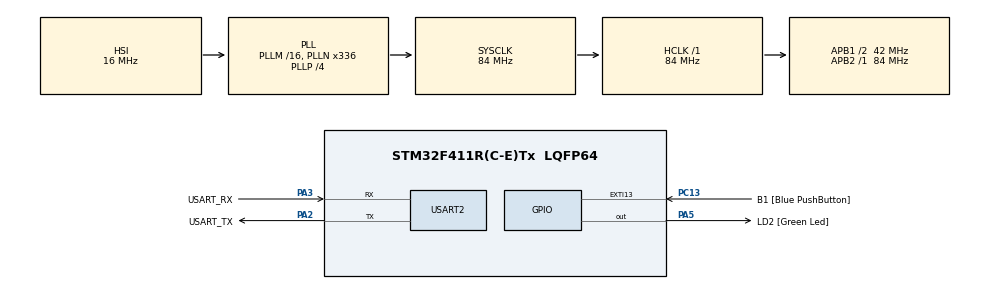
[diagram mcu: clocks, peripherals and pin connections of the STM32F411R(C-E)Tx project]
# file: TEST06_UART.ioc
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Mcu.Family=STM32F4
Mcu.Name=STM32F411R(C-E)Tx
Mcu.Package=LQFP64
NVIC.PriorityGroup=NVIC_PRIORITYGROUP_0
NVIC.USART2_IRQn=true\:0\:0\:false\:false\:true\:true\:true\:true
PA13.GPIO_Label=TMS
PA13.Mode=Serial_Wire
PA13.Signal=SYS_JTMS-SWDIO
PA14.GPIO_Label=TCK
PA14.Mode=Serial_Wire
PA14.Signal=SYS_JTCK-SWCLK
PA2.GPIO_Label=USART_TX
PA2.Mode=Asynchronous
PA2.Signal=USART2_TX
PA3.GPIO_Label=USART_RX
PA3.Mode=Asynchronous
PA3.Signal=USART2_RX
PA5.GPIO_Label=LD2 [Green Led]
PA5.Signal=GPIO_Output
PB3.GPIO_Label=SWO
PB3.Signal=SYS_JTDO-SWO
PC13-ANTI_TAMP.GPIO_Label=B1 [Blue PushButton]
PC13-ANTI_TAMP.GPIO_ModeDefaultEXTI=GPIO_MODE_IT_FALLING
PC13-ANTI_TAMP.Signal=GPXTI13
PC14-OSC32_IN.Mode=LSE-External-Oscillator
PC14-OSC32_IN.Signal=RCC_OSC32_IN
PC15-OSC32_OUT.Mode=LSE-External-Oscillator
PC15-OSC32_OUT.Signal=RCC_OSC32_OUT
PH0\ -\ OSC_IN.Mode=HSE-External-Clock-Source
PH0\ -\ OSC_IN.Signal=RCC_OSC_IN
PH1\ -\ OSC_OUT.Mode=HSE-External-Clock-Source
PH1\ -\ OSC_OUT.Signal=RCC_OSC_OUT
ProjectManager.HeapSize=0x200
ProjectManager.StackSize=0x400
ProjectManager.TargetToolchain=STM32CubeIDE
RCC.48MHZClocksFreq_Value=84000000
RCC.AHBFreq_Value=84000000
RCC.APB1CLKDivider=RCC_HCLK_DIV2
RCC.APB1Freq_Value=42000000
RCC.APB1TimFreq_Value=84000000
RCC.APB2Freq_Value=84000000
RCC.APB2TimFreq_Value=84000000
RCC.CortexFreq_Value=84000000
RCC.FLatency-AdvancedSettings=FLASH_LATENCY_2
RCC.HCLKFreq_Value=84000000
RCC.HSE_VALUE=8000000
RCC.HSI_VALUE=16000000
RCC.PLLN=336
RCC.PLLP=RCC_PLLP_DIV4
RCC.SYSCLKFreq_VALUE=84000000
RCC.SYSCLKSource=RCC_SYSCLKSOURCE_PLLCLK
RCC.VCOOutputFreq_Value=336000000
USART2.VirtualMode=VM_ASYNC
board=NUCLEO-F411RE

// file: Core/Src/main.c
/* USER CODE BEGIN Header */
/**
  ******************************************************************************
  * @file           : main.c
  * @brief          : Main program body
  ******************************************************************************
  * @attention
  *
  * Copyright (c) 2024 STMicroelectronics.
  * All rights reserved.
  *
  * This software is licensed under terms that can be found in the LICENSE file
  * in the root directory of this software component.
  * If no LICENSE file comes with this software, it is provided AS-IS.
  *
  ******************************************************************************
  */
/* USER CODE END Header */
#include "main.h"

UART_HandleTypeDef huart2;

void SystemClock_Config(void);
static void MX_GPIO_Init(void);
static void MX_USART2_UART_Init(void);

/* USER CODE BEGIN 0 */
char buf[500];
char dum;
int idx = 0;
int cmdOK = 1;
void HAL_UART_RxCpltCallback(UART_HandleTypeDef *huart)
{
	HAL_UART_Transmit(&huart2, &dum, 1, 10);
	if(dum == '\r')
	{
		HAL_UART_Transmit(&huart2, "\n", 1, 10);
		cmdOK = 1;
	}
	else cmdOK = 0;
	buf[idx++] = dum;
	buf[idx] = 0; // NULL
	HAL_UART_Receive_IT(&huart2, &dum, 1);
}

/* USER CODE END 0 */

int main(void)
{

  /* MCU Configuration--------------------------------------------------------*/

  /* Reset of all peripherals, Initializes the Flash interface and the Systick. */
  HAL_Init();

  /* Configure the system clock */
  SystemClock_Config();

  /* Initialize all configured peripherals */
  MX_GPIO_Init();
  MX_USART2_UART_Init();
  /* USER CODE BEGIN 2 */
  ProgramStart("UART RX - Interrupt");
  Cursor(1);
  HAL_UART_Receive_IT(&huart2, &dum, 1); // one time interrupt

  /* USER CODE END 2 */

  /* Infinite loop */
  while (1)
  {

    /* USER CODE BEGIN 3 */
	  if(cmdOK > 0)
	  {
		  //while(buf[idx] != 0x0d);
		  printf("%s\r\n>\033[A\n", buf);
		  idx = 0;
		  cmdOK = 0;
	  }
	  HAL_Delay(10);
  }
  /* USER CODE END 3 */
}

void SystemClock_Config(void)
{
  RCC_OscInitTypeDef RCC_OscInitStruct = {0};
  RCC_ClkInitTypeDef RCC_ClkInitStruct = {0};

  /** Configure the main internal regulator output voltage
  */
  __HAL_RCC_PWR_CLK_ENABLE();
  __HAL_PWR_VOLTAGESCALING_CONFIG(PWR_REGULATOR_VOLTAGE_SCALE1);

  /** Initializes the RCC Oscillators according to the specified parameters
  * in the RCC_OscInitTypeDef structure.
  */
  RCC_OscInitStruct.OscillatorType = RCC_OSCILLATORTYPE_HSI;
  RCC_OscInitStruct.HSIState = RCC_HSI_ON;
  RCC_OscInitStruct.HSICalibrationValue = RCC_HSICALIBRATION_DEFAULT;
  RCC_OscInitStruct.PLL.PLLState = RCC_PLL_ON;
  RCC_OscInitStruct.PLL.PLLSource = RCC_PLLSOURCE_HSI;
  RCC_OscInitStruct.PLL.PLLM = 16;
  RCC_OscInitStruct.PLL.PLLN = 336;
  RCC_OscInitStruct.PLL.PLLP = RCC_PLLP_DIV4;
  RCC_OscInitStruct.PLL.PLLQ = 4;
  if (HAL_RCC_OscConfig(&RCC_OscInitStruct) != HAL_OK)
  {
    Error_Handler();
  }

  /** Initializes the CPU, AHB and APB buses clocks
  */
  RCC_ClkInitStruct.ClockType = RCC_CLOCKTYPE_HCLK|RCC_CLOCKTYPE_SYSCLK
                              |RCC_CLOCKTYPE_PCLK1|RCC_CLOCKTYPE_PCLK2;
  RCC_ClkInitStruct.SYSCLKSource = RCC_SYSCLKSOURCE_PLLCLK;
  RCC_ClkInitStruct.AHBCLKDivider = RCC_SYSCLK_DIV1;
  RCC_ClkInitStruct.APB1CLKDivider = RCC_HCLK_DIV2;
  RCC_ClkInitStruct.APB2CLKDivider = RCC_HCLK_DIV1;

  if (HAL_RCC_ClockConfig(&RCC_ClkInitStruct, FLASH_LATENCY_2) != HAL_OK)
  {
    Error_Handler();
  }
}

static void MX_USART2_UART_Init(void)
{

  huart2.Instance = USART2;
  huart2.Init.BaudRate = 115200;
  huart2.Init.WordLength = UART_WORDLENGTH_8B;
  huart2.Init.StopBits = UART_STOPBITS_1;
  huart2.Init.Parity = UART_PARITY_NONE;
  huart2.Init.Mode = UART_MODE_TX_RX;
  huart2.Init.HwFlowCtl = UART_HWCONTROL_NONE;
  huart2.Init.OverSampling = UART_OVERSAMPLING_16;
  if (HAL_UART_Init(&huart2) != HAL_OK)
  {
    Error_Handler();
  }

}

static void MX_GPIO_Init(void)
{
  GPIO_InitTypeDef GPIO_InitStruct = {0};

  /* GPIO Ports Clock Enable */
  __HAL_RCC_GPIOC_CLK_ENABLE();
  __HAL_RCC_GPIOH_CLK_ENABLE();
  __HAL_RCC_GPIOA_CLK_ENABLE();
  __HAL_RCC_GPIOB_CLK_ENABLE();

  /*Configure GPIO pin Output Level */
  HAL_GPIO_WritePin(LD2_GPIO_Port, LD2_Pin, GPIO_PIN_RESET);

  /*Configure GPIO pin : B1_Pin */
  GPIO_InitStruct.Pin = B1_Pin;
  GPIO_InitStruct.Mode = GPIO_MODE_IT_FALLING;
  GPIO_InitStruct.Pull = GPIO_NOPULL;
  HAL_GPIO_Init(B1_GPIO_Port, &GPIO_InitStruct);

  /*Configure GPIO pin : LD2_Pin */
  GPIO_InitStruct.Pin = LD2_Pin;
  GPIO_InitStruct.Mode = GPIO_MODE_OUTPUT_PP;
  GPIO_InitStruct.Pull = GPIO_NOPULL;
  GPIO_InitStruct.Speed = GPIO_SPEED_FREQ_LOW;
  HAL_GPIO_Init(LD2_GPIO_Port, &GPIO_InitStruct);

}

void Error_Handler(void)
{
  __disable_irq();
  while (1)
  {
  }
}
